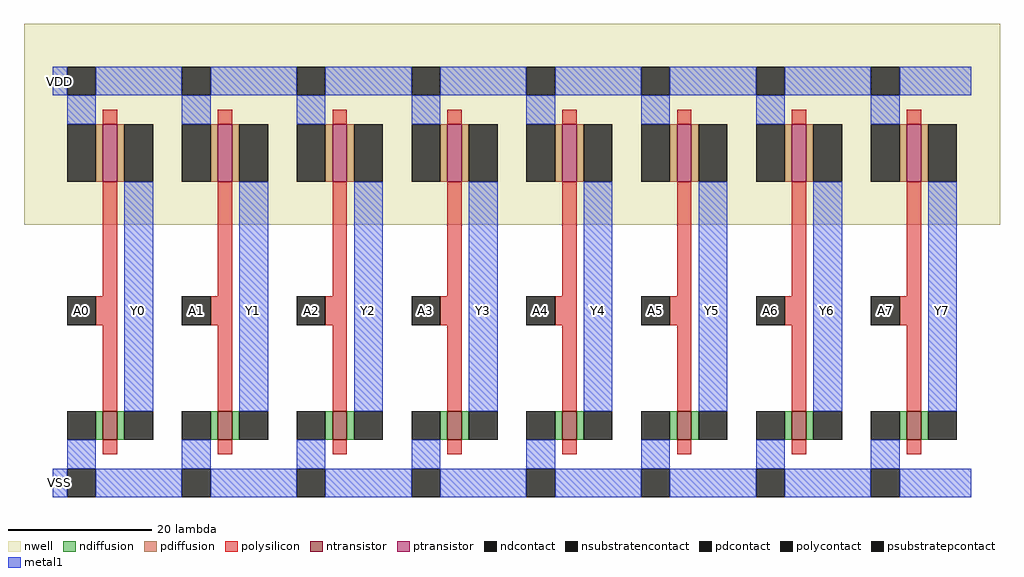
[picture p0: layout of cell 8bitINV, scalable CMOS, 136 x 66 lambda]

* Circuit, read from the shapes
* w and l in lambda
.subckt 8bitINV A0 A1 A2 A3 A4 A5 A6 A7 VDD VSS Y0 Y1 Y2 Y3 Y4 Y5 Y6 Y7
M1 Y0 A0 VSS VSS nfet w=4 l=2
M2 Y1 A1 VSS VSS nfet w=4 l=2
M3 Y2 A2 VSS VSS nfet w=4 l=2
M4 Y3 A3 VSS VSS nfet w=4 l=2
M5 Y4 A4 VSS VSS nfet w=4 l=2
M6 Y5 A5 VSS VSS nfet w=4 l=2
M7 Y6 A6 VSS VSS nfet w=4 l=2
M8 Y7 A7 VSS VSS nfet w=4 l=2
M9 Y0 A0 VDD VDD pfet w=8 l=2
M10 Y1 A1 VDD VDD pfet w=8 l=2
M11 Y2 A2 VDD VDD pfet w=8 l=2
M12 Y3 A3 VDD VDD pfet w=8 l=2
M13 Y4 A4 VDD VDD pfet w=8 l=2
M14 Y5 A5 VDD VDD pfet w=8 l=2
M15 Y6 A6 VDD VDD pfet w=8 l=2
M16 Y7 A7 VDD VDD pfet w=8 l=2
.ends

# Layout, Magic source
magic
tech scmos
<< nwell >>
rect 0 56 2 60
<< polycontact >>
rect 2 24 6 28
rect 18 24 22 28
rect 34 24 38 28
rect 50 24 54 28
rect 66 24 70 28
rect 82 24 86 28
rect 98 24 102 28
rect 114 24 118 28
<< metal1 >>
rect 0 56 2 60
rect 10 24 14 28
rect 26 24 30 28
rect 42 24 46 28
rect 58 24 62 28
rect 74 24 78 28
rect 90 24 94 28
rect 106 24 110 28
rect 122 24 126 28
rect 0 0 2 4
use INV  INV_0
transform 1 0 0 0 1 0
box -4 0 20 66
use INV  INV_1
transform 1 0 16 0 1 0
box -4 0 20 66
use INV  INV_2
transform 1 0 32 0 1 0
box -4 0 20 66
use INV  INV_3
transform 1 0 48 0 1 0
box -4 0 20 66
use INV  INV_4
transform 1 0 64 0 1 0
box -4 0 20 66
use INV  INV_5
transform 1 0 80 0 1 0
box -4 0 20 66
use INV  INV_6
transform 1 0 96 0 1 0
box -4 0 20 66
use INV  INV_7
transform 1 0 112 0 1 0
box -4 0 20 66
<< labels >>
rlabel metal1 1 58 1 58 1 VDD
rlabel metal1 1 2 1 2 1 VSS
rlabel polycontact 4 26 4 26 1 A0
rlabel polycontact 20 26 20 26 1 A1
rlabel polycontact 36 26 36 26 1 A2
rlabel polycontact 52 26 52 26 1 A3
rlabel polycontact 68 26 68 26 1 A4
rlabel polycontact 84 26 84 26 1 A5
rlabel polycontact 100 26 100 26 1 A6
rlabel polycontact 116 26 116 26 1 A7
rlabel metal1 12 26 12 26 1 Y0
rlabel metal1 28 26 28 26 1 Y1
rlabel metal1 44 26 44 26 1 Y2
rlabel metal1 60 26 60 26 1 Y3
rlabel metal1 76 26 76 26 1 Y4
rlabel metal1 92 26 92 26 1 Y5
rlabel metal1 108 26 108 26 1 Y6
rlabel metal1 124 26 124 26 1 Y7
<< end >>

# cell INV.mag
magic
tech scmos
<< nwell >>
rect -4 38 20 66
<< ntransistor >>
rect 7 8 9 12
<< ptransistor >>
rect 7 44 9 52
<< ndiffusion >>
rect 6 8 7 12
rect 9 8 10 12
<< pdiffusion >>
rect 6 44 7 52
rect 9 44 10 52
<< ndcontact >>
rect 2 8 6 12
rect 10 8 14 12
<< pdcontact >>
rect 2 44 6 52
rect 10 44 14 52
<< psubstratepcontact >>
rect 2 0 6 4
<< nsubstratencontact >>
rect 2 56 6 60
<< polysilicon >>
rect 7 52 9 54
rect 7 28 9 44
rect 6 24 9 28
rect 7 12 9 24
rect 7 6 9 8
<< polycontact >>
rect 2 24 6 28
<< metal1 >>
rect 0 56 2 60
rect 6 56 16 60
rect 2 52 6 56
rect 10 12 14 44
rect 2 4 6 8
rect 0 0 2 4
rect 6 0 16 4
<< labels >>
rlabel polycontact 4 26 4 26 3 A
rlabel metal1 12 26 12 26 1 Y
rlabel psubstratepcontact 4 2 4 2 2 VSS
rlabel nsubstratencontact 4 58 4 58 3 VDD
<< end >>
